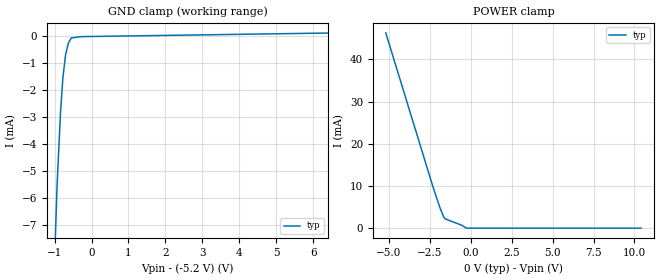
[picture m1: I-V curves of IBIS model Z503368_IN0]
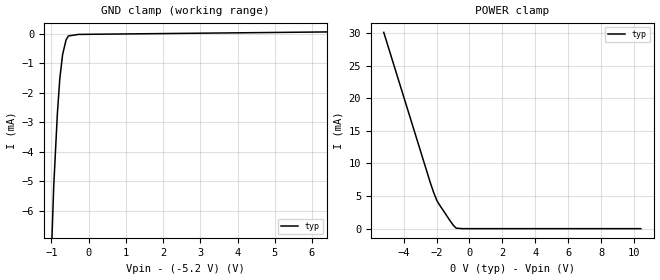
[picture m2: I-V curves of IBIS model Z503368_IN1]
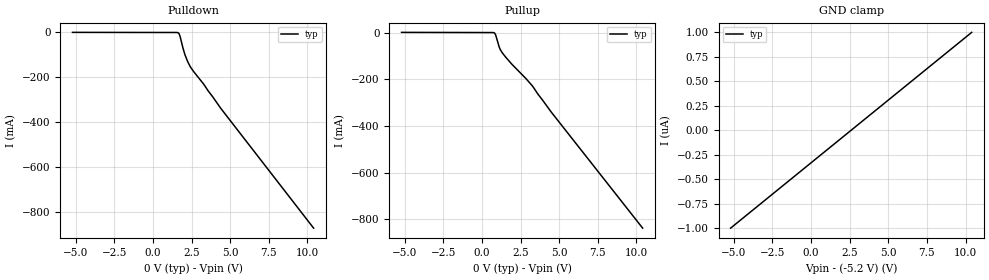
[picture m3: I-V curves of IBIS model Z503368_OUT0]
| YOU ARE ONLY AUTHORIZED TO USE THIS SOFTWARE
| ACCORDING TO LICENSOR'S LICENSE RESTRICTIONS.
[IBIS Ver] 3.1
[File Name] mc100e164fn.ibs
[File Rev] 2.0
[Source] Measured and created by ICX Technology
[Date] Friday 7/14/00 9:07:47 AM
[Copyright]
| (C) COPYRIGHT 1993-2000
| MENTOR GRAPHICS CORPORATION
| ICX STANDARD LIBRARY, ICX PROJECT MODELING,
| ICX CUSTOM MODELING, ICX VENDOR MODEL
| ALL RIGHTS RESERVED.
| THE FOLLOWING ARE TRADEMARKS OR SERVICE MARKS OF
| MENTOR GRAPHICS CORPORATION:ICX (R), ICX STANDARD
| LIBRARY(R), ICX PROJECT MODELING(R), ICX CUSTOM
| MODELING(R), qualityIBIS(TM), MODELVIEWER(TM),
| AND MODELEDITOR(TM)
| ALL COPIES OF SOFTWARE, INCLUDING BUT NOT LIMITED TO
| ANY MODIFICATIONS, ENHANCEMENTS OR DERIVATIVE WORKS,
| MUST CONTAIN ALL MENTOR GRAPHICS CORPORATION'S
| NOTICES AND LEGENDS, INCLUDING THOSE EMBEDDED IN
| SOFTWARE AND THOSE AFFIXED TO SOFTWARE MEDIUM
| AND CONTAINER, AS RECEIVED FROM MENTOR GRAPHICS
| CORPORATION.
|  ZAP Model Builder 2.7
[Component] MC100E164FN
[Manufacturer] OnSemiconductor
[Package]
| variable   typ   min   max
R_pkg  .083ohms NA NA
L_pkg  4.299nH NA NA
C_pkg  1.045pF NA NA
[Pin] signal_name  model_name  R_pin  L_pin C_pin
1 VEE POWER .08 3.94n .925p
2 SEL2 Z503368_IN0 .082 4.14n .995p
3 SEL0 Z503368_IN0 .084 4.354n 1.065p
4 SEL1 Z503368_IN0 .086 4.583n 1.135p
5 A7 Z503368_IN1 .086 4.583n 1.135p
6 A6 Z503368_IN1 .084 4.354n 1.065p
7 A5 Z503368_IN1 .082 4.14n .995p
8 A4 Z503368_IN1 .08 3.94n .925p
9 A3 Z503368_IN1 .082 4.14n .995p
10 A2 Z503368_IN1 .084 4.354n 1.065p
11 A1 Z503368_IN1 .086 4.583n 1.135p
12 A0 Z503368_IN1 .086 4.583n 1.135p
13 VCCO POWER .084 4.354n 1.065p
14 _Q Z503368_OUT1 .082 4.14n .995p
15 Q Z503368_OUT0 .08 3.94n .925p
16 VCC POWER .082 4.14n .995p
17 NC NC .084 4.354n 1.065p
18 NC NC .086 4.583n 1.135p
19 VCCO POWER .086 4.583n 1.135p
20 A15 Z503368_IN1 .084 4.354n 1.065p
21 A14 Z503368_IN1 .082 4.14n .995p
22 A13 Z503368_IN1 .08 3.94n .925p
23 A12 Z503368_IN1 .082 4.14n .995p
24 A11 Z503368_IN1 .084 4.354n 1.065p
25 A10 Z503368_IN1 .086 4.583n 1.135p
26 A9 Z503368_IN1 .086 4.583n 1.135p
27 A8 Z503368_IN1 .084 4.354n 1.065p
28 SEL3 Z503368_IN0 .082 4.14n .995p
| Models and submodels in the file (4): Z503368_IN0 (Input_ECL), Z503368_IN1 (Input_ECL), Z503368_OUT0 (Output_ECL), Z503368_OUT1 (Output_ECL)
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| (C) COPYRIGHT 1993-2000
| MENTOR GRAPHICS CORPORATION
| ICX STANDARD LIBRARY, ICX PROJECT MODELING,
| ICX CUSTOM MODELING, ICX VENDOR MODEL
| ALL RIGHTS RESERVED.
| THE FOLLOWING ARE TRADEMARKS OR SERVICE MARKS OF
| MENTOR GRAPHICS CORPORATION:ICX (R), ICX STANDARD
| LIBRARY(R), ICX PROJECT MODELING(R), ICX CUSTOM
| MODELING(R), qualityIBIS(TM), MODELVIEWER(TM),
| AND MODELEDITOR(TM)
| ALL COPIES OF SOFTWARE, INCLUDING BUT NOT LIMITED TO
| ANY MODIFICATIONS, ENHANCEMENTS OR DERIVATIVE WORKS,
| MUST CONTAIN ALL MENTOR GRAPHICS CORPORATION'S
| NOTICES AND LEGENDS, INCLUDING THOSE EMBEDDED IN
| SOFTWARE AND THOSE AFFIXED TO SOFTWARE MEDIUM
| AND CONTAINER, AS RECEIVED FROM MENTOR GRAPHICS
| CORPORATION.
| Model Application Version 1.89 2/18/99.
[Model] Z503368_IN0
Model_type Input_ECL
Vinl = -1.475V
Vinh = -1.165V
C_comp 4.000pF NA NA
| variable typ   min   max
[Voltage Range] -5.200V NA NA
[GND Clamp Reference] -5.200V NA NA
[POWER Clamp Reference] 0.000V NA NA
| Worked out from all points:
|   GND clamp passes 1 mA (typ) near -0.73 V on its own axis
[GND Clamp]
-5.2V     -263.2mA   NA         NA
-1.087V   -12.01mA   NA         NA
-933mV    -5.518mA   NA         NA
-840mV    -2.838mA   NA         NA
-776mV    -1.546mA   NA         NA
-702mV    -689.4uA   NA         NA
-628mV    -262.1uA   NA         NA
-547mV    -63.7uA    NA         NA
-273.5mV  -16.93uA   NA         NA
10.4V     195.2uA    NA         NA
[POWER Clamp]
-5.2V     46.28mA    NA         NA
-2.341V   10.12mA    NA         NA
-1.893V   4.896mA    NA         NA
-1.675V   2.798mA    NA         NA
-1.602V   2.351mA    NA         NA
-1.523V   2.122mA    NA         NA
-543.2mV  672.2uA    NA         NA
-271.6mV  0A         NA         NA
10.4V     0A         NA         NA
| (C) COPYRIGHT 1993-2000
| MENTOR GRAPHICS CORPORATION
| ICX STANDARD LIBRARY, ICX PROJECT MODELING,
| ICX CUSTOM MODELING, ICX VENDOR MODEL
| ALL RIGHTS RESERVED.
| THE FOLLOWING ARE TRADEMARKS OR SERVICE MARKS OF
| MENTOR GRAPHICS CORPORATION:ICX (R), ICX STANDARD
| LIBRARY(R), ICX PROJECT MODELING(R), ICX CUSTOM
| MODELING(R), qualityIBIS(TM), MODELVIEWER(TM),
| AND MODELEDITOR(TM)
| ALL COPIES OF SOFTWARE, INCLUDING BUT NOT LIMITED TO
| ANY MODIFICATIONS, ENHANCEMENTS OR DERIVATIVE WORKS,
| MUST CONTAIN ALL MENTOR GRAPHICS CORPORATION'S
| NOTICES AND LEGENDS, INCLUDING THOSE EMBEDDED IN
| SOFTWARE AND THOSE AFFIXED TO SOFTWARE MEDIUM
| AND CONTAINER, AS RECEIVED FROM MENTOR GRAPHICS
| CORPORATION.
| Model Application Version 1.89 2/18/99.
[Model] Z503368_IN1
Model_type Input_ECL
Vinl = -1.475V
Vinh = -1.165V
C_comp 4.000pF NA NA
| variable typ   min   max
[Voltage Range] -5.200V NA NA
[GND Clamp Reference] -5.200V NA NA
[POWER Clamp Reference] 0.000V NA NA
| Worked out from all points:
|   GND clamp passes 1 mA (typ) near -0.73 V on its own axis
|   POWER clamp passes 1 mA (typ) near -1.12 V on its own axis
[GND Clamp]
-5.2V     -230.8mA   NA         NA
-1.098V   -10.98mA   NA         NA
-938mV    -5.137mA   NA         NA
-841mV    -2.701mA   NA         NA
-776mV    -1.52mA    NA         NA
-701mV    -706.5uA   NA         NA
-609mV    -212.7uA   NA         NA
-547mV    -73.68uA   NA         NA
-273.5mV  -20.81uA   NA         NA
10.4V     113.2uA    NA         NA
[POWER Clamp]
-5.2V     30.1mA     NA         NA
-2.373V   7.03mA     NA         NA
-2.168V   5.507mA    NA         NA
-1.982V   4.337mA    NA         NA
-1.884V   3.904mA    NA         NA
-1.157V   1.139mA    NA         NA
-963.7mV  468.1uA    NA         NA
-806mV    72.79uA    NA         NA
-403mV    0A         NA         NA
10.4V     0A         NA         NA
| (C) COPYRIGHT 1993-2000
| MENTOR GRAPHICS CORPORATION
| ICX STANDARD LIBRARY, ICX PROJECT MODELING,
| ICX CUSTOM MODELING, ICX VENDOR MODEL
| ALL RIGHTS RESERVED.
| THE FOLLOWING ARE TRADEMARKS OR SERVICE MARKS OF
| MENTOR GRAPHICS CORPORATION:ICX (R), ICX STANDARD
| LIBRARY(R), ICX PROJECT MODELING(R), ICX CUSTOM
| MODELING(R), qualityIBIS(TM), MODELVIEWER(TM),
| AND MODELEDITOR(TM)
| ALL COPIES OF SOFTWARE, INCLUDING BUT NOT LIMITED TO
| ANY MODIFICATIONS, ENHANCEMENTS OR DERIVATIVE WORKS,
| MUST CONTAIN ALL MENTOR GRAPHICS CORPORATION'S
| NOTICES AND LEGENDS, INCLUDING THOSE EMBEDDED IN
| SOFTWARE AND THOSE AFFIXED TO SOFTWARE MEDIUM
| AND CONTAINER, AS RECEIVED FROM MENTOR GRAPHICS
| CORPORATION.
| Model Application Version 1.89 2/18/99.
[Model] Z503368_OUT0
Model_type Output_ECL
Vref=-2.000V
Rref=50.00ohms
Cref=0.000F
Vmeas=-1.320V
C_comp 8.000pF NA NA
| variable typ   min   max
[Voltage Range] -5.200V NA NA
[POWER Clamp Reference] 0.000V NA NA
[Pullup Reference] 0.000V NA NA
[Pulldown Reference] 0.000V NA NA
[GND Clamp Reference] -5.200V NA NA
[GND Clamp]
-5.2V     -1uA       NA         NA
10.4V     1uA        NA         NA
[Pulldown]
-5.2V     515.8uA    NA         NA
1.661V    -2.598mA   NA         NA
1.765V    -18.82mA   NA         NA
1.948V    -69.7mA    NA         NA
2.072V    -98.6mA    NA         NA
2.258V    -130.9mA   NA         NA
2.432V    -154.2mA   NA         NA
3.291V    -230.8mA   NA         NA
4.39V     -338.2mA   NA         NA
10.4V     -873mA     NA         NA
[Pullup]
-5.2V     725.2uA    NA         NA
824.7mV   -2.523mA   NA         NA
893.6mV   -11.06mA   NA         NA
1.119V    -62.19mA   NA         NA
1.329V    -87.88mA   NA         NA
1.953V    -136.7mA   NA         NA
3.237V    -226.4mA   NA         NA
4.468V    -339.1mA   NA         NA
10.4V     -837.6mA   NA         NA
[POWER Clamp]
-5.2V     0A         NA         NA
10.4V     0A         NA         NA
[Ramp]
| variable typ min max
dV/dt_r 475.6m/225.4p NA NA
dV/dt_f 475.6m/276.8p NA NA
R_load = 500.0Ohms
